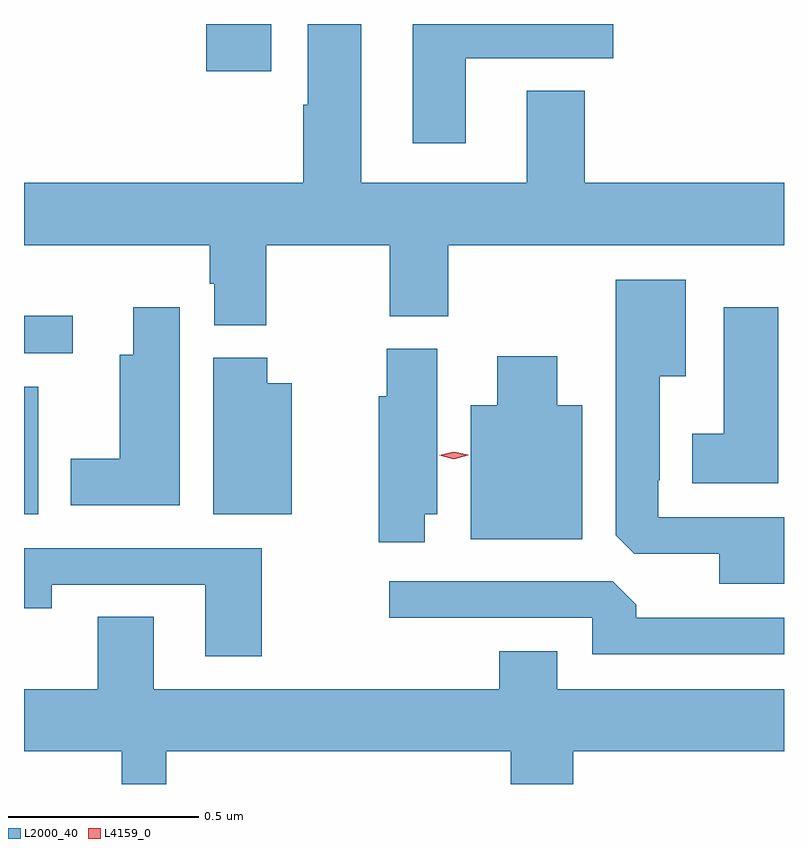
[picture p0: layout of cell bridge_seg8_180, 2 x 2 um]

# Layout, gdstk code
import gdstk
lib = gdstk.Library(unit=1e-6, precision=1e-09)
def R(c, l, rs):  # rectangles x0, y0, x1, y1
    for r in rs: c.add(gdstk.rectangle(r[:2], r[2:], *l))
def P(c, l, *ps):  # polygons
    for p in ps: c.add(gdstk.Polygon(p, *l))
L2000_40 = (2000, 40)
L4159_0 = (4159, 0)

bridge_seg8_180 = lib.new_cell('bridge_seg8_180')
R(bridge_seg8_180, L2000_40, [(417.488,1094.48,417.526,1094.815), (417.488,1094.904,417.616,1095.002), (417.968,1095.646,418.138,1095.77)])
P(bridge_seg8_180, L2000_40, [(418.125,1095.188),(418.45,1095.188),(418.45,1095.001),(418.605,1095.001),(418.605,1095.188),(419.488,1095.188),(419.488,1095.352),(418.964,1095.352),(418.964,1095.595),(418.811,1095.595),(418.811,1095.352),(418.375,1095.352),(418.375,1095.77),(418.235,1095.77),(418.235,1095.557),(418.223,1095.557),(418.223,1095.352),(417.488,1095.352),(417.488,1095.188),(417.977,1095.188),(417.977,1095.087),(417.989,1095.087),(417.989,1094.977),(418.125,1094.977)],
  [(418.651,1095.68),(419.039,1095.68),(419.039,1095.77),(418.511,1095.77),(418.511,1095.456),(418.651,1095.456)],
  [(419.488,1094.472),(419.157,1094.472),(419.157,1094.569),(419.161,1094.569),(419.161,1094.843),(419.23,1094.843),(419.23,1095.097),(419.045,1095.097),(419.045,1094.425),(419.094,1094.376),(419.318,1094.376),(419.318,1094.297),(419.488,1094.297)],
  [(419.473,1095.025),(419.33,1095.025),(419.33,1094.692),(419.246,1094.692),(419.246,1094.561),(419.473,1094.561)],
  [(417.898,1095.025),(417.776,1095.025),(417.776,1094.899),(417.74,1094.899),(417.74,1094.626),(417.611,1094.626),(417.611,1094.504),(417.898,1094.504)],
  [(418.543,1094.48),(418.576,1094.48),(418.576,1094.916),(418.442,1094.916),(418.442,1094.79),(418.421,1094.79),(418.421,1094.406),(418.543,1094.406)],
  [(418.957,1094.767),(418.891,1094.767),(418.891,1094.896),(418.733,1094.896),(418.733,1094.767),(418.664,1094.767),(418.664,1094.414),(418.957,1094.414)],
  [(418.192,1094.824),(418.128,1094.824),(418.128,1094.892),(417.986,1094.892),(417.986,1094.48),(418.192,1094.48)],
  [(418.113,1094.391),(417.488,1094.391),(417.488,1094.232),(417.561,1094.232),(417.561,1094.295),(417.965,1094.295),(417.965,1094.106),(418.113,1094.106)],
  [(419.488,1094.208),(419.099,1094.208),(419.099,1094.242),(419.037,1094.304),(418.449,1094.304),(418.449,1094.208),(418.983,1094.208),(418.983,1094.112),(419.488,1094.112)],
  [(417.862,1093.856),(418.769,1093.856),(418.769,1093.77),(418.934,1093.77),(418.934,1093.856),(419.488,1093.856),(419.488,1094.02),(418.891,1094.02),(418.891,1094.119),(418.739,1094.119),(418.739,1094.02),(417.829,1094.02),(417.829,1094.21),(417.682,1094.21),(417.682,1094.02),(417.488,1094.02),(417.488,1093.856),(417.745,1093.856),(417.745,1093.77),(417.862,1093.77)])
P(bridge_seg8_180, L4159_0, [(418.619,1094.625),(418.581,1094.635),(418.58,1094.635),(418.581,1094.635),(418.619,1094.645),(418.657,1094.636),(418.657,1094.635),(418.657,1094.635)])

lib.write_gds('bridge_seg8_180.gds')
